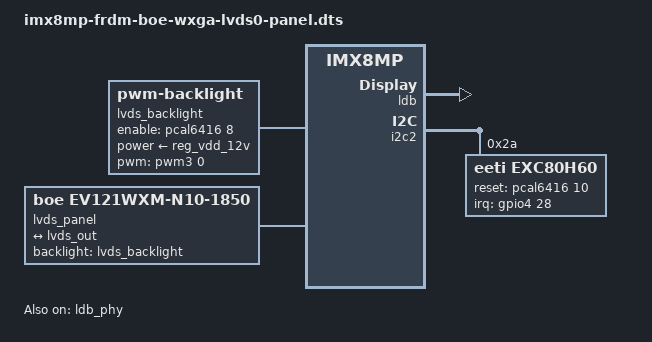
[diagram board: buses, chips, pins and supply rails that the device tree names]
// SPDX-License-Identifier: (GPL-2.0+ OR MIT)
/*
 * Copyright 2025 NXP
 */

#include "imx8mp-frdm.dts"

/ {
	lvds_backlight: lvds_backlight {
		compatible = "pwm-backlight";
		pwms = <&pwm3 0 100000 0>;
		enable-gpios = <&pcal6416 8 GPIO_ACTIVE_HIGH>;
		power-supply = <&reg_vdd_12v>;
		status = "okay";

		brightness-levels = < 0  1  2  3  4  5  6  7  8  9
				     10 11 12 13 14 15 16 17 18 19
				     20 21 22 23 24 25 26 27 28 29
				     30 31 32 33 34 35 36 37 38 39
				     40 41 42 43 44 45 46 47 48 49
				     50 51 52 53 54 55 56 57 58 59
				     60 61 62 63 64 65 66 67 68 69
				     70 71 72 73 74 75 76 77 78 79
				     80 81 82 83 84 85 86 87 88 89
				     90 91 92 93 94 95 96 97 98 99
				    100>;
		default-brightness-level = <80>;
	};

	lvds_panel {
		compatible = "boe,ev121wxm-n10-1850";
		backlight = <&lvds_backlight>;

		port {
			panel_lvds_in: endpoint {
				remote-endpoint = <&lvds_out>;
			};
		};
	};
};

&ldb {
	status = "okay";

	lvds-channel@0 {
		status = "okay";

		port@1 {
			reg = <1>;

			lvds_out: endpoint {
				remote-endpoint = <&panel_lvds_in>;
			};
		};
	};
};

&ldb_phy {
	status = "okay";
};

&i2c2 {
	exc80h60: touch@2a {
		compatible = "eeti,exc80h60";
		reg = <0x2a>;
		pinctrl-names = "default";
		pinctrl-0 = <&pinctrl_ctp_int>;
		interrupt-parent = <&gpio4>;
		interrupts = <28 IRQ_TYPE_LEVEL_LOW>;
		reset-gpios = <&pcal6416 10 GPIO_ACTIVE_HIGH>;
		status = "okay";
	};
};

&iomuxc {
	pinctrl_ctp_int: ctp_int_grp {
		fsl,pins = <
			MX8MP_IOMUXC_SAI3_RXFS__GPIO4_IO28	0x31e
		>;
	};
};
